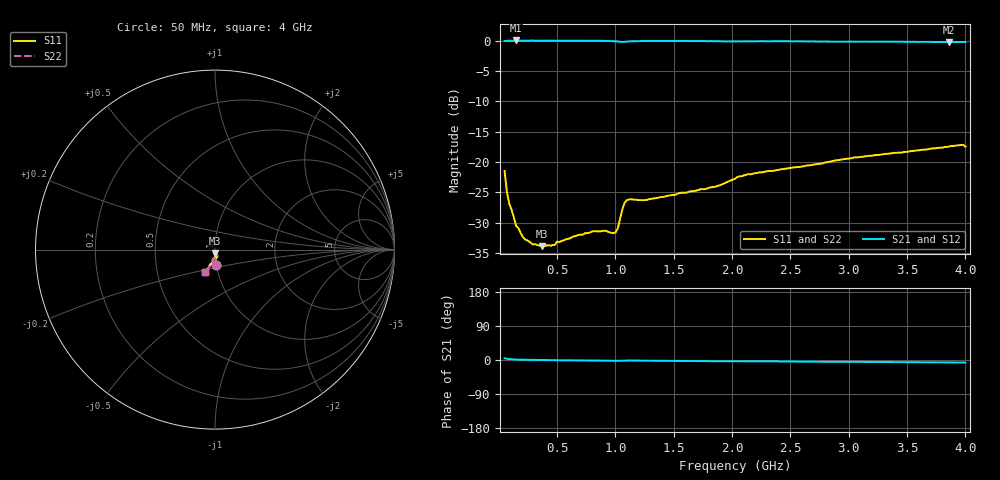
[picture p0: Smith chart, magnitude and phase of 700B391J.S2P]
!  American Technical Ceramics  Date:  3/13/98
!  One Norden Lane
!  Huntington Station,  NY.  11746-2102
!  Tel:  (516) 547-5700  Fax:  (516) 547-5748
!  Part Number  700B391J
!  Description: Porcelain, High Q, Low ESR
!  Application: Bypass, Coupling, Timing, Feedback
!  Tuning, Impedance Match, Blocking
# GHZ S DB R 50
! Freq  |S11|  S11 Ph  |S21|  S21 Ph  |S12|  S12 Ph  |S22|  S22 Ph
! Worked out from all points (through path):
!   201 points, 50 MHz to 4 GHz, reference 50 ohm
!   highest |S21| = 0.04 dB at 150 MHz (marker M1); lowest = -0.2 dB at 3.86 GHz (marker M2)
!   group delay of S21, straight-line fit = 5.13 ps
!   lowest |S11| = -33.9 dB at 370 MHz (marker M3), VSWR 1.04, Z = 49.9 - j2.03 ohm
!   |S11| at or under -10 dB: start of sweep to end of sweep
!   |S22| runs from -33.9 to -17.1 dB; largest |S21 - S12| = 0
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0.05  -21.47 -86.2  -0.05 4.5  -0.05 4.5  -21.47 -86.2
0.07  -24.99 -86.6  -0.02 3.2  -0.02 3.2  -24.99 -86.6
0.09  -26.88 -90.1  0.01 2.2  0.01 2.2  -26.88 -90.1
0.15  -30.56 -91.3  0.04 1.4  0.04 1.4  -30.56 -91.3
0.23  -32.80 -89.7  0.01 0.7  0.01 0.7  -32.80 -89.7
0.37  -33.85 -91.5  0.01 -0.2  0.01 -0.2  -33.85 -91.5
0.48  -33.64 -92.5  0.00 -0.3  0.00 -0.3  -33.64 -92.5
0.5  -33.10 -94.5  -0.02 -0.7  -0.02 -0.7  -33.10 -94.5
0.72  -31.96 -94.9  -0.02 -1.2  -0.02 -1.2  -31.96 -94.9
0.82  -31.38 -96.4  -0.02 -1.5  -0.02 -1.5  -31.38 -96.4
1  -31.59 -81.1  -0.09 -2.1  -0.09 -2.1  -31.59 -81.1
1.02  -30.94 -73.0  -0.12 -2.2  -0.12 -2.2  -30.94 -73.0
1.06  -27.70 -70.7  -0.20 -1.8  -0.20 -1.8  -27.70 -70.7
1.1  -26.23 -83.2  -0.14 -1.3  -0.14 -1.3  -26.23 -83.2
1.37  -25.87 -100.9  -0.04 -2.0  -0.04 -2.0  -25.87 -100.9
1.85  -24.08 -102.5  -0.08 -3.1  -0.08 -3.1  -24.08 -102.5
2.03  -22.68 -101.2  -0.12 -3.2  -0.12 -3.2  -22.68 -101.2
2.14  -21.99 -104.3  -0.10 -3.4  -0.10 -3.4  -21.99 -104.3
2.7  -20.41 -108.4  -0.12 -4.3  -0.12 -4.3  -20.41 -108.4
3.35  -18.61 -111.0  -0.17 -5.4  -0.17 -5.4  -18.61 -111.0
3.86  -17.43 -111.6  -0.23 -6.4  -0.23 -6.4  -17.43 -111.6
4  -17.46 -113.7  -0.21 -6.8  -0.21 -6.8  -17.46 -113.7
